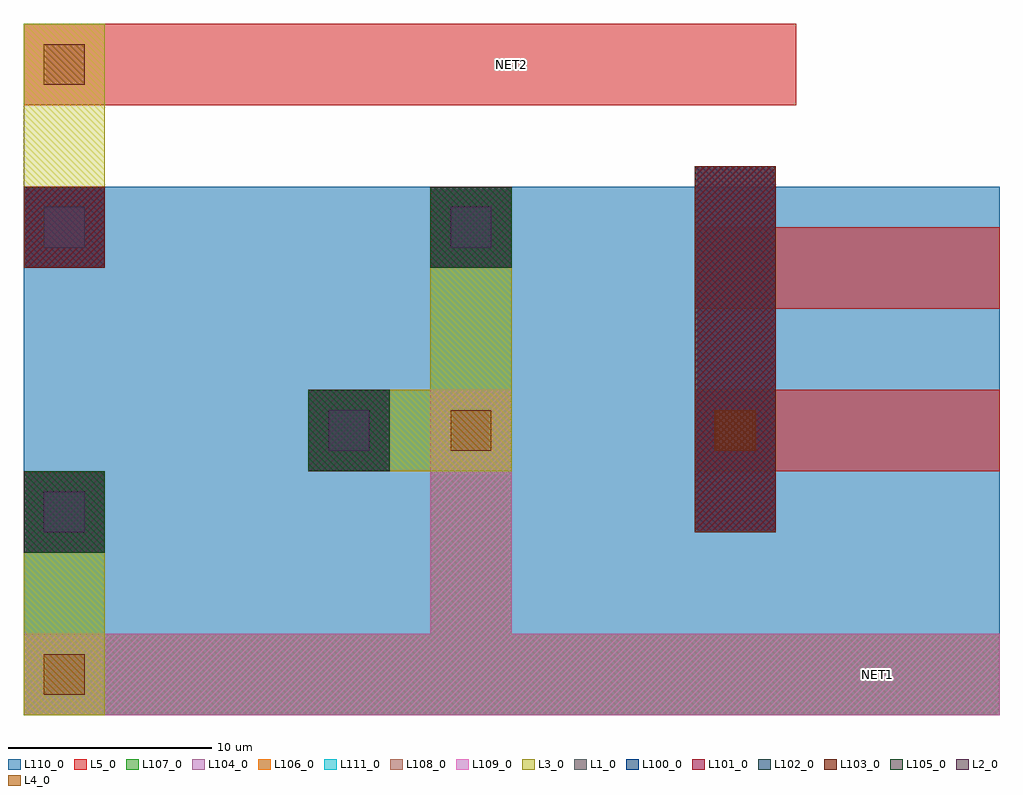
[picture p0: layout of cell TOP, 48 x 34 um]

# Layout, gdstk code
import gdstk
lib = gdstk.Library(unit=1e-6, precision=1e-09)
def R(c, l, rs):  # rectangles x0, y0, x1, y1
    for r in rs: c.add(gdstk.rectangle(r[:2], r[2:], *l))
def P(c, l, *ps):  # polygons
    for p in ps: c.add(gdstk.Polygon(p, *l))
L1_0 = (1, 0)
L2_0 = (2, 0)
L3_0 = (3, 0)
L4_0 = (4, 0)
L5_0 = (5, 0)
L100_0 = (100, 0)
L101_0 = (101, 0)
L102_0 = (102, 0)
L103_0 = (103, 0)
L104_0 = (104, 0)
L105_0 = (105, 0)
L106_0 = (106, 0)
L107_0 = (107, 0)
L108_0 = (108, 0)
L109_0 = (109, 0)
L110_0 = (110, 0)
L111_0 = (111, 0)

c_a = lib.new_cell('A')
R(c_a, L1_0, [(0,8,4,12)])
R(c_a, L2_0, [(1,9,3,11)])
R(c_a, L3_0, [(0,0,4,12)])
R(c_a, L4_0, [(1,1,3,3)])
R(c_a, L5_0, [(0,0,38,4)])
c_a.add(gdstk.Label('NET2', (16,2), layer=5, texttype=0))

top = lib.new_cell('TOP')
R(top, L1_0, [(25,-5,29,13), (6,-2,10,2), (12,8,16,12)])
R(top, L2_0, [(7,-1,9,1), (13,9,15,11)])
R(top, L3_0, [(25,-5,29,2), (6,-2,16,2), (12,-2,16,12), (25,6,29,13)])
R(top, L4_0, [(13,-1,15,1), (26,-1,28,1)])
R(top, L5_0, [(12,-14,16,2), (30,-14,40,-10), (25,-2,40,2), (25,6,40,10)])
R(top, L100_0, [(-8,-6,-4,-2), (25,-5,29,13), (6,-2,10,2), (-8,8,-4,12), (12,8,16,12)])
R(top, L101_0, [(-8,-6,-4,-2), (25,-5,29,13), (6,-2,10,2), (-8,8,-4,12), (12,8,16,12)])
R(top, L102_0, [(-8,-6,-4,-2), (25,-5,29,13), (6,-2,10,2), (-8,8,-4,12), (12,8,16,12)])
R(top, L103_0, [(25,-5,29,13), (-8,8,-4,12)])
P(top, L104_0, [(-8,-14),(-8,-2),(-4,-2),(-4,-10),(12,-10),(12,-2),(6,-2),(6,2),(12,2),(12,12),(16,12),(16,-10),(40,-10),(40,-14)])
R(top, L105_0, [(-8,-6,-4,-2), (6,-2,10,2), (12,8,16,12)])
P(top, L106_0, [(-8,-14),(-8,-2),(-4,-2),(-4,-10),(12,-10),(12,-2),(6,-2),(6,2),(12,2),(12,12),(16,12),(16,-10),(40,-10),(40,-14)])
R(top, L107_0, [(-8,-14,-4,-2), (-8,-14,30,-10), (12,-14,16,2), (30,-14,40,-10), (-7,-13,-5,-11), (-8,-6,-4,-2), (-7,-5,-5,-3), (6,-2,10,2), (6,-2,16,2), (12,-2,16,12), (7,-1,9,1), (13,-1,15,1), (12,8,16,12), (13,9,15,11)])
R(top, L108_0, [(-8,-14,30,-10), (12,-14,16,2), (30,-14,40,-10), (-7,-13,-5,-11), (13,-1,15,1)])
R(top, L109_0, [(-8,-14,30,-10), (12,-14,16,2), (30,-14,40,-10)])
R(top, L110_0, [(-8,-14,40,12)])
P(top, L111_0, [(-8,-14),(-8,-2),(-4,-2),(-4,-10),(12,-10),(12,-2),(6,-2),(6,2),(12,2),(12,12),(16,12),(16,-10),(40,-10),(40,-14)])
r = gdstk.Reference(c_a, (-8,-14)); r.repetition = gdstk.Repetition(1, 1, v1=(0,0), v2=(0,0)); top.add(r)
top.add(gdstk.Reference(c_a, (-8,20), x_reflection=True))
top.add(gdstk.Label('NET2', (16,18), layer=5, texttype=0))
top.add(gdstk.Label('NET1', (34,-12), layer=5, texttype=0))

lib.write_gds('TOP.gds')
